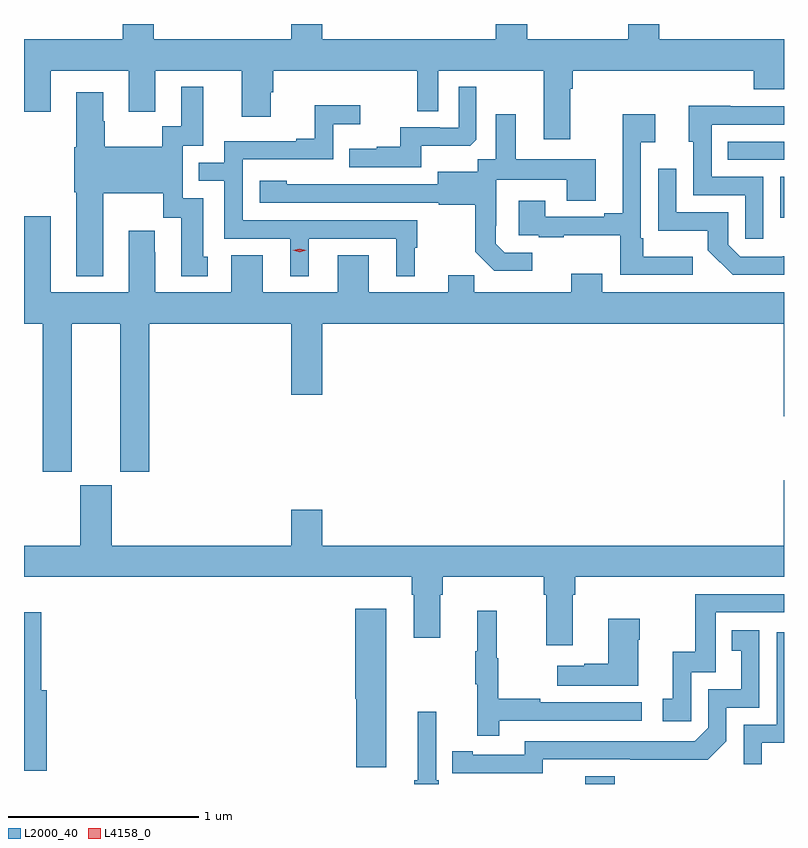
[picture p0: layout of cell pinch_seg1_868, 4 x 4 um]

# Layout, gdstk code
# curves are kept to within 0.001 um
import gdstk
lib = gdstk.Library(unit=1e-6, precision=1e-09)
def R(c, l, rs):  # rectangles x0, y0, x1, y1
    for r in rs: c.add(gdstk.rectangle(r[:2], r[2:], *l))
def P(c, l, *ps):  # polygons
    for p in ps: c.add(gdstk.Polygon(p, *l))
L2000_40 = (2000, 40)
L4158_0 = (4158, 0)

pinch_seg1_868 = lib.new_cell('pinch_seg1_868')
R(pinch_seg1_868, L2000_40, [(514.208,538.653,514.361,538.693), (515.234,541.634,515.253,541.849), (514.957,541.938,515.253,542.034)])
P(pinch_seg1_868, L2000_40, [(514.129,542.312),(514.142,542.312),(514.142,542.408),(515.093,542.408),(515.093,542.309),(515.253,542.309),(515.253,542.572),(514.597,542.572),(514.597,542.653),(514.433,542.653),(514.433,542.572),(513.902,542.572),(513.902,542.653),(513.737,542.653),(513.737,542.572),(512.824,542.572),(512.824,542.653),(512.66,542.653),(512.66,542.572),(511.936,542.572),(511.936,542.653),(511.772,542.653),(511.772,542.572),(511.253,542.572),(511.253,542.19),(511.393,542.19),(511.393,542.408),(511.805,542.408),(511.805,542.19),(511.945,542.19),(511.945,542.408),(512.399,542.408),(512.399,542.166),(512.551,542.166),(512.551,542.295),(512.564,542.295),(512.564,542.408),(513.324,542.408),(513.324,542.194),(513.432,542.194),(513.432,542.408),(513.989,542.408),(513.989,542.046),(514.129,542.046)],
  [(513.343,542.012),(513.601,542.012),(513.633,542.043),(513.633,542.323),(513.54,542.323),(513.54,542.106),(513.44,542.106),(513.44,542.109),(513.233,542.109),(513.233,542.008),(513.109,542.008),(513.109,541.996),(512.965,541.996),(512.965,541.899),(513.343,541.899)],
  [(511.669,541.763),(511.985,541.763),(511.985,541.632),(512.081,541.632),(512.081,541.326),(512.221,541.326),(512.221,541.428),(512.197,541.428),(512.197,541.737),(512.088,541.737),(512.088,542.013),(512.197,542.013),(512.197,542.323),(512.081,542.323),(512.081,542.114),(511.98,542.114),(511.98,542.008),(511.677,542.008),(511.677,542.142),(511.669,542.142),(511.669,542.293),(511.529,542.293),(511.529,542.004),(511.517,542.004),(511.517,541.767),(511.529,541.767),(511.529,541.325),(511.669,541.325)],
  [(512.752,541.524),(513.212,541.524),(513.212,541.325),(513.31,541.325),(513.31,541.476),(513.322,541.476),(513.322,541.62),(512.403,541.62),(512.403,541.941),(512.88,541.941),(512.88,542.126),(513.022,542.126),(513.022,542.225),(512.782,542.225),(512.782,542.05),(512.687,542.05),(512.687,542.037),(512.307,542.037),(512.307,541.923),(512.173,541.923),(512.173,541.827),(512.307,541.827),(512.307,541.524),(512.654,541.524),(512.654,541.325),(512.752,541.325)],
  [(515.145,541.848),(514.872,541.848),(514.872,542.124),(515.253,542.124),(515.253,542.22),(514.969,542.22),(514.969,542.222),(514.751,542.222),(514.751,542.034),(514.776,542.034),(514.776,541.752),(515.049,541.752),(515.049,541.524),(515.145,541.524)],
  [(513.928,541.449),(513.783,541.449),(513.736,541.496),(513.736,541.591),(513.738,541.591),(513.738,541.832),(514.109,541.832),(514.109,541.723),(514.261,541.723),(514.261,541.942),(513.841,541.942),(513.841,542.179),(513.737,542.179),(513.737,541.94),(513.642,541.94),(513.642,541.876),(513.431,541.876),(513.431,541.809),(512.637,541.81),(512.637,541.828),(512.493,541.828),(512.493,541.713),(513.435,541.713),(513.435,541.701),(513.627,541.701),(513.627,541.455),(513.727,541.355),(513.928,541.355)],
  [(514.774,541.429),(514.513,541.429),(514.513,541.525),(514.5,541.525),(514.5,542.03),(514.576,542.03),(514.576,542.179),(514.403,542.179),(514.403,541.657),(514.307,541.657),(514.307,541.638),(513.997,541.638),(513.997,541.723),(513.857,541.723),(513.857,541.542),(513.961,541.542),(513.961,541.53),(514.093,541.53),(514.093,541.541),(514.392,541.541),(514.392,541.332),(514.774,541.332)],
  [(515.253,541.43),(515.246,541.43),(515.246,541.428),(515.022,541.428),(514.959,541.491),(514.959,541.662),(514.686,541.662),(514.686,541.891),(514.59,541.891),(514.59,541.565),(514.852,541.565),(514.852,541.463),(514.982,541.332),(515.253,541.332)],
  [(511.504,541.076),(511.76,541.076),(511.76,540.297),(511.913,540.297),(511.913,541.076),(512.66,541.076),(512.66,540.702),(512.824,540.702),(512.824,541.076),(515.251,541.076),(515.251,540.588),(515.253,540.588),(515.253,541.24),(514.297,541.24),(514.297,541.339),(514.133,541.339),(514.133,541.24),(513.623,541.24),(513.623,541.331),(513.485,541.331),(513.485,541.24),(513.067,541.24),(513.067,541.435),(512.903,541.435),(512.903,541.24),(512.509,541.24),(512.509,541.435),(512.345,541.435),(512.345,541.24),(511.945,541.24),(511.945,541.451),(511.942,541.451),(511.942,541.564),(511.805,541.564),(511.805,541.24),(511.393,541.24),(511.393,541.642),(511.253,541.642),(511.253,541.076),(511.352,541.076),(511.352,540.297),(511.504,540.297)],
  [(514.141,539.648),(514.154,539.648),(514.154,539.744),(515.253,539.744),(515.253,540.253),(515.251,540.253),(515.251,539.908),(512.824,539.908),(512.824,540.097),(512.66,540.097),(512.66,539.908),(511.714,539.908),(511.714,540.225),(511.55,540.225),(511.55,539.908),(511.253,539.908),(511.253,539.744),(513.293,539.744),(513.293,539.648),(513.305,539.648),(513.305,539.424),(513.445,539.424),(513.445,539.648),(513.458,539.648),(513.458,539.744),(513.989,539.744),(513.989,539.648),(514.001,539.648),(514.001,539.382),(514.141,539.382)],
  [(514.764,539.241),(514.893,539.241),(514.893,539.556),(515.253,539.556),(515.253,539.652),(514.785,539.652),(514.785,539.35),(514.667,539.35),(514.667,539.103),(514.614,539.103),(514.614,538.983),(514.764,538.983)],
  [(513.16,539.575),(512.996,539.575),(512.996,539.103),(513.002,539.103),(513.002,538.74),(513.16,538.74)],
  [(513.755,538.986),(514.504,538.986),(514.504,539.082),(513.971,539.082),(513.971,539.102),(513.748,539.102),(513.748,539.316),(513.74,539.316),(513.74,539.566),(513.638,539.566),(513.638,539.353),(513.627,539.353),(513.627,539.179),(513.638,539.179),(513.638,538.908),(513.755,538.908)],
  [(511.373,539.146),(511.343,539.146),(511.343,539.557),(511.253,539.557),(511.253,538.722),(511.373,538.722)],
  [(514.486,539.411),(514.494,539.411),(514.494,539.524),(514.328,539.524),(514.328,539.285),(514.202,539.285),(514.202,539.275),(514.059,539.275),(514.059,539.171),(514.486,539.171)],
  [(513.984,538.782),(514.852,538.781),(514.95,538.878),(514.95,539.055),(515.124,539.055),(515.124,539.461),(514.978,539.461),(514.978,539.355),(515.027,539.355),(515.027,539.151),(514.854,539.151),(514.854,538.95),(514.782,538.878),(513.888,538.878),(513.888,538.806),(513.616,538.806),(513.616,538.826),(513.508,538.826),(513.508,538.71),(513.984,538.709)],
  [(515.137,538.869),(515.253,538.869),(515.253,539.451),(515.214,539.451),(515.214,538.965),(515.04,538.965),(515.04,538.758),(515.137,538.758)],
  [(513.437,538.672),(513.423,538.672),(513.423,539.032),(513.326,539.032),(513.326,538.672),(513.307,538.672),(513.307,538.653),(513.437,538.653)])
P(pinch_seg1_868, L4158_0, [(512.703,541.451),(512.667,541.461),(512.667,541.461),(512.667,541.461),(512.703,541.471),(512.738,541.461),(512.739,541.461),(512.738,541.461)])

lib.write_gds('pinch_seg1_868.gds')
